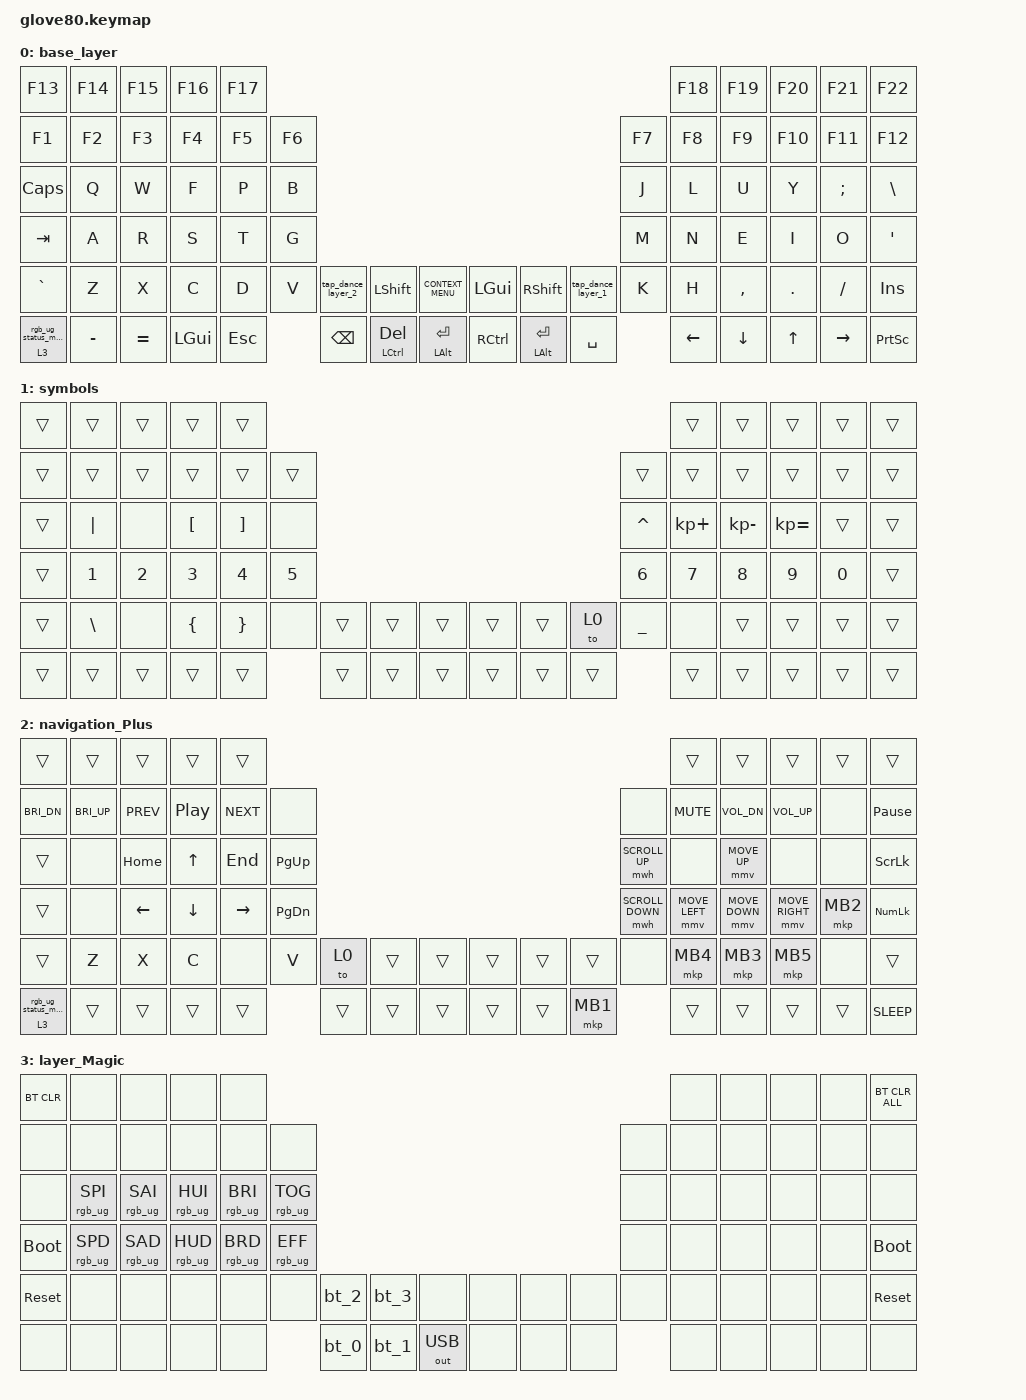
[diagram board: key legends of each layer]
/*
 * Copyright (c) 2020 The ZMK Contributors
 * Copyright (c) 2022 Innaworks Development Limited, trading as MoErgo
 *
 * SPDX-License-Identifier: MIT
 */
/* THIS FILE WAS GENERATED BY GLOVE80 LAYOUT EDITOR
 *
 * This file was generated automatically. You may or may not want to
 * edit it directly.
 */

#include <behaviors.dtsi>

/* Include all behaviour includes needed by system behaviors/macros */
/* Include behaviour includes needed by key binds - automatically generated */

#include "./mouse.dtsi"
#include <dt-bindings/zmk/bt.h>
#include <dt-bindings/zmk/keys.h>
#include <dt-bindings/zmk/outputs.h>
#include <dt-bindings/zmk/rgb.h>

/ {
    /* Glove80 system behavior & macros */

    behaviors {
        // For the "layer" key, it'd nice to be able to use it as either a shift or a toggle.
        // Configure it as a tap dance, so the first tap (or hold) is a &mo and the second tap is a &to

        lower: tap_dance_0 {
            compatible = "zmk,behavior-tap-dance";
            label = "LAYER_TAP_DANCE";
            #binding-cells = <0>;
            tapping-term-ms = <200>;
            bindings = <&mo 1>, <&to 1>;
        };
        tap_dance_layer_1: tap_dance_layer_1 {
            compatible = "zmk,behavior-tap-dance";
            label = "TAP_DANCE_LAYER_1";
            #binding-cells = <0>;
            bindings = <&mo 1>, <&tog 1>;
        };
        tap_dance_layer_2: tap_dance_layer_2 {
            compatible = "zmk,behavior-tap-dance";
            label = "TAP_DANCE_LAYER_2";
            #binding-cells = <0>;
            bindings = <&mo 2>, <&tog 2>;
        };
        auto_shift: auto_shift {
            compatible = "zmk,behavior-hold-tap";
            label = "AUTO_SHIFT";
            bindings = <&kp>, <&kp>;

            #binding-cells = <2>;
            tapping-term-ms = <250>;
            quick-tap-ms = <0>;
            flavor = "tap-preferred";
        };
    };

    macros {
        rgb_ug_status_macro: rgb_ug_status_macro_0 {
            label = "RGB_UG_STATUS";
            compatible = "zmk,behavior-macro";
            #binding-cells = <0>;
            bindings = <&rgb_ug RGB_STATUS>;
        };
        bt_0: bt_profile_macro_0 {
            label = "BT_0";
            compatible = "zmk,behavior-macro";
            #binding-cells = <0>;
            bindings = <&out OUT_BLE &bt BT_SEL 0>;
        };
        bt_1: bt_profile_macro_1 {
            label = "BT_1";
            compatible = "zmk,behavior-macro";
            #binding-cells = <0>;
            bindings = <&out OUT_BLE &bt BT_SEL 1>;
        };
        bt_2: bt_profile_macro_2 {
            label = "BT_2";
            compatible = "zmk,behavior-macro";
            #binding-cells = <0>;
            bindings = <&out OUT_BLE &bt BT_SEL 2>;
        };
        bt_3: bt_profile_macro_3 {
            label = "BT_3";
            compatible = "zmk,behavior-macro";
            #binding-cells = <0>;
            bindings = <&out OUT_BLE &bt BT_SEL 3>;
        };
    };

    magic: magic_hold_tap {
        compatible = "zmk,behavior-hold-tap";
        label = "MAGIC_HOLD_TAP";
        #binding-cells = <2>;
        flavor = "tap-preferred";
        tapping-term-ms = <200>;
        bindings = <&mo>, <&rgb_ug_status_macro>;
    };

    /* Custom Defined Behaviors */
    /* Automatically generated keymap */

    keymap {
        compatible = "zmk,keymap";

        base_layer {
            bindings = <
&kp F13       &kp F14    &kp F15    &kp F16       &kp F17                                                                                                                              &kp F18   &kp F19    &kp F20       &kp F21        &kp F22
&kp F1        &kp F2     &kp F3     &kp F4        &kp F5      &kp F6                                                                                                           &kp F7  &kp F8    &kp F9     &kp F10       &kp F11        &kp F12
&kp CAPSLOCK  &kp Q      &kp W      &kp F         &kp P       &kp B                                                                                                            &kp J   &kp L     &kp U      &kp Y         &kp SEMICOLON  &kp BACKSLASH
&kp TAB       &kp A      &kp R      &kp S         &kp T       &kp G                                                                                                            &kp M   &kp N     &kp E      &kp I         &kp O          &kp SQT
&kp GRAVE     &kp Z      &kp X      &kp C         &kp D       &kp V   &tap_dance_layer_2  &kp LEFT_SHIFT    &kp K_CONTEXT_MENU  &kp LGUI   &kp RSHIFT      &tap_dance_layer_1  &kp K   &kp H     &kp COMMA  &kp PERIOD    &kp SLASH      &kp INS
&magic 3 0    &kp MINUS  &kp EQUAL  &kp LEFT_GUI  &kp ESCAPE          &kp BSPC            &mt LCTRL DELETE  &mt LEFT_ALT ENTER  &kp RCTRL  &mt LALT ENTER  &kp SPACE                   &kp LEFT  &kp DOWN   &kp UP_ARROW  &kp RIGHT      &kp PRINTSCREEN
            >;
        };

        symbols {
            bindings = <
&trans  &trans         &trans        &trans          &trans                                                                                     &trans       &trans        &trans        &trans  &trans
&trans  &trans         &trans        &trans          &trans             &trans                                                  &trans          &trans       &trans        &trans        &trans  &trans
&trans  &kp PIPE       &none         &kp LBKT        &kp RIGHT_BRACKET  &none                                                   &kp CARET       &kp KP_PLUS  &kp KP_MINUS  &kp KP_EQUAL  &trans  &trans
&trans  &kp NUMBER_1   &kp NUMBER_2  &kp NUMBER_3    &kp NUMBER_4       &kp N5                                                  &kp NUMBER_6    &kp N7       &kp N8        &kp N9        &kp N0  &trans
&trans  &kp BACKSLASH  &none         &kp LEFT_BRACE  &kp RIGHT_BRACE    &none   &trans  &trans  &trans  &trans  &trans  &to 0   &kp UNDERSCORE  &none        &trans        &trans        &trans  &trans
&trans  &trans         &trans        &trans          &trans                     &trans  &trans  &trans  &trans  &trans  &trans                  &trans       &trans        &trans        &trans  &trans
            >;
        };

        navigation_Plus {
            bindings = <
&trans        &trans        &trans          &trans          &trans                                                                                          &trans          &trans          &trans           &trans    &trans
&kp C_BRI_DN  &kp C_BRI_UP  &kp C_PREV      &kp C_PP        &kp C_NEXT       &none                                                        &none             &kp C_MUTE      &kp C_VOL_DN    &kp C_VOL_UP     &none     &kp PAUSE_BREAK
&trans        &none         &kp HOME        &kp UP_ARROW    &kp END          &kp PG_UP                                                    &mwh SCROLL_UP    &none           &mmv MOVE_UP    &none            &none     &kp SCROLLLOCK
&trans        &none         &kp LEFT_ARROW  &kp DOWN_ARROW  &kp RIGHT_ARROW  &kp PG_DN                                                    &mwh SCROLL_DOWN  &mmv MOVE_LEFT  &mmv MOVE_DOWN  &mmv MOVE_RIGHT  &mkp MB2  &kp KP_NUM
&trans        &kp Z         &kp X           &kp C           &none            &kp V      &to 0   &trans  &trans  &trans  &trans  &trans    &none             &mkp MB4        &mkp MB3        &mkp MB5         &none     &trans
&magic 3 0    &trans        &trans          &trans          &trans                      &trans  &trans  &trans  &trans  &trans  &mkp MB1                    &trans          &trans          &trans           &trans    &kp C_SLEEP
            >;
        };

        layer_Magic {
            bindings = <
&bt BT_CLR   &none            &none            &none            &none                                                                                     &none  &none  &none  &none  &bt BT_CLR_ALL
&none        &none            &none            &none            &none            &none                                                             &none  &none  &none  &none  &none  &none
&none        &rgb_ug RGB_SPI  &rgb_ug RGB_SAI  &rgb_ug RGB_HUI  &rgb_ug RGB_BRI  &rgb_ug RGB_TOG                                                   &none  &none  &none  &none  &none  &none
&bootloader  &rgb_ug RGB_SPD  &rgb_ug RGB_SAD  &rgb_ug RGB_HUD  &rgb_ug RGB_BRD  &rgb_ug RGB_EFF                                                   &none  &none  &none  &none  &none  &bootloader
&sys_reset   &none            &none            &none            &none            &none            &bt_2  &bt_3  &none         &none  &none  &none  &none  &none  &none  &none  &none  &sys_reset
&none        &none            &none            &none            &none                             &bt_0  &bt_1  &out OUT_USB  &none  &none  &none         &none  &none  &none  &none  &none
            >;
        };
    };
};
